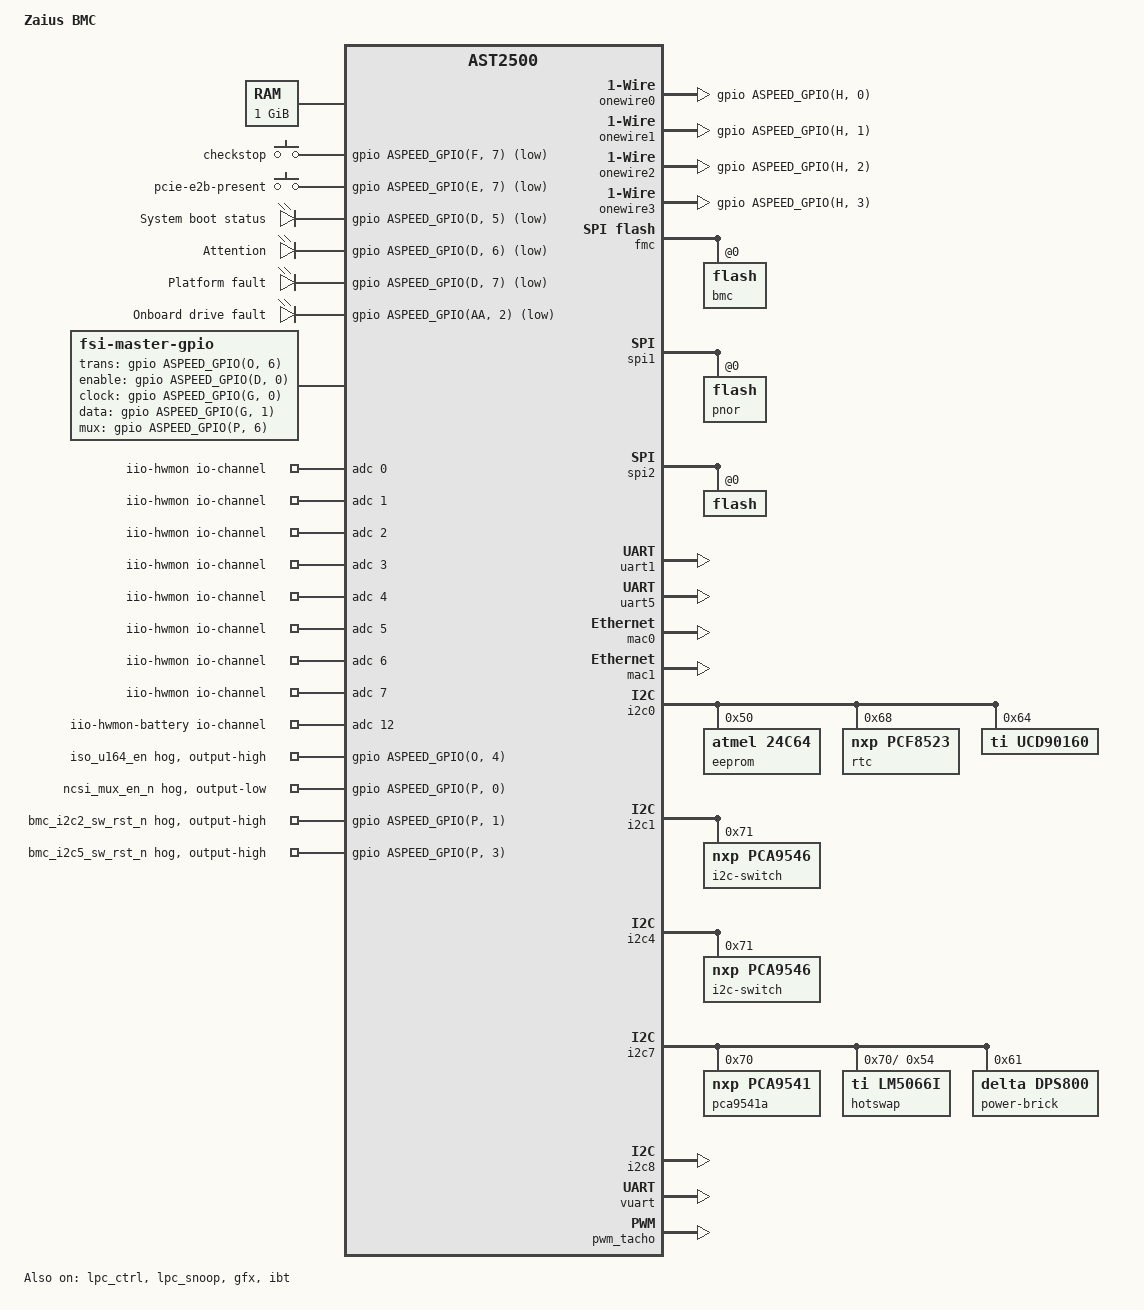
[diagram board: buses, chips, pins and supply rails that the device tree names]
// SPDX-License-Identifier: GPL-2.0
/dts-v1/;
#include "aspeed-g5.dtsi"
#include <dt-bindings/gpio/aspeed-gpio.h>

/ {
	model = "Zaius BMC";
	compatible = "ingrasys,zaius-bmc", "aspeed,ast2500";

	chosen {
		stdout-path = &uart5;
		bootargs = "console=ttyS4,115200 earlyprintk";
	};

	memory@80000000 {
		reg = <0x80000000 0x40000000>;
	};

	reserved-memory {
		#address-cells = <1>;
		#size-cells = <1>;
		ranges;

		flash_memory: region@98000000 {
			no-map;
			reg = <0x98000000 0x04000000>; /* 64M */
		};
	};

	onewire0 {
		compatible = "w1-gpio";
		gpios = <&gpio ASPEED_GPIO(H, 0) GPIO_ACTIVE_HIGH>;
	};

	onewire1 {
		compatible = "w1-gpio";
		gpios = <&gpio ASPEED_GPIO(H, 1) GPIO_ACTIVE_HIGH>;
	};

	onewire2 {
		compatible = "w1-gpio";
		gpios = <&gpio ASPEED_GPIO(H, 2) GPIO_ACTIVE_HIGH>;
	};

	onewire3 {
		compatible = "w1-gpio";
		gpios = <&gpio ASPEED_GPIO(H, 3) GPIO_ACTIVE_HIGH>;
	};

	gpio-keys {
		compatible = "gpio-keys";

		checkstop {
			label = "checkstop";
			gpios = <&gpio ASPEED_GPIO(F, 7) GPIO_ACTIVE_LOW>;
			linux,code = <ASPEED_GPIO(F, 7)>;
		};

		pcie-e2b-present{
			label = "pcie-e2b-present";
			gpios = <&gpio ASPEED_GPIO(E, 7) GPIO_ACTIVE_LOW>;
			linux,code = <ASPEED_GPIO(E, 7)>;
		};
	};

	leds {
		compatible = "gpio-leds";

		sys_boot_status {
			label = "System boot status";
			gpios = <&gpio ASPEED_GPIO(D, 5) GPIO_ACTIVE_LOW>;
		};

		attention {
			label = "Attention";
			gpios = <&gpio ASPEED_GPIO(D, 6) GPIO_ACTIVE_LOW>;
		};

		plt_fault {
			label = "Platform fault";
			gpios = <&gpio ASPEED_GPIO(D, 7) GPIO_ACTIVE_LOW>;
		};

		hdd_fault {
			label = "Onboard drive fault";
			gpios = <&gpio ASPEED_GPIO(AA, 2) GPIO_ACTIVE_LOW>;
		};
	};

	fsi: gpio-fsi {
		compatible = "fsi-master-gpio", "fsi-master";
		#address-cells = <2>;
		#size-cells = <0>;
		no-gpio-delays;

		trans-gpios = <&gpio ASPEED_GPIO(O, 6) GPIO_ACTIVE_HIGH>;
		enable-gpios = <&gpio ASPEED_GPIO(D, 0) GPIO_ACTIVE_HIGH>;
		clock-gpios = <&gpio ASPEED_GPIO(G, 0) GPIO_ACTIVE_HIGH>;
		data-gpios = <&gpio ASPEED_GPIO(G, 1) GPIO_ACTIVE_HIGH>;
		mux-gpios = <&gpio ASPEED_GPIO(P, 6) GPIO_ACTIVE_HIGH>;
	};

	iio-hwmon {
		compatible = "iio-hwmon";
		io-channels = <&adc 0>, <&adc 1>, <&adc 2>, <&adc 3>,
			<&adc 4>, <&adc 5>, <&adc 6>, <&adc 7>,
			<&adc 8>, <&adc 9>, <&adc 10>, <&adc 11>,
			<&adc 13>, <&adc 14>, <&adc 15>;
	};

	iio-hwmon-battery {
		compatible = "iio-hwmon";
		io-channels = <&adc 12>;
	};

};

&fmc {
	status = "okay";

	flash@0 {
		status = "okay";
		label = "bmc";
		m25p,fast-read;
#include "openbmc-flash-layout.dtsi"
	};
};

&spi1 {
	status = "okay";
	pinctrl-names = "default";
	pinctrl-0 = <&pinctrl_spi1_default>;

	flash@0 {
		status = "okay";
		label = "pnor";
		m25p,fast-read;
	};
};

&spi2 {
	status = "okay";
	pinctrl-names = "default";
	pinctrl-0 = <&pinctrl_spi2ck_default
		     &pinctrl_spi2cs0_default
		     &pinctrl_spi2cs1_default
		     &pinctrl_spi2miso_default
		     &pinctrl_spi2mosi_default>;

	flash@0 {
		status = "okay";
	};
};

&uart1 {
	status = "okay";
	pinctrl-names = "default";
	pinctrl-0 = <&pinctrl_txd1_default
		     &pinctrl_rxd1_default>;
};

&lpc_ctrl {
	status = "okay";
	memory-region = <&flash_memory>;
	flash = <&spi1>;
};

&lpc_snoop {
	status = "okay";
	snoop-ports = <0x80>;
};


&uart5 {
	status = "okay";
};

&mac0 {
	status = "okay";
	pinctrl-names = "default";
	pinctrl-0 = <&pinctrl_rmii1_default>;
	use-ncsi;
};

&mac1 {
	status = "okay";

	pinctrl-names = "default";
	pinctrl-0 = <&pinctrl_rgmii2_default &pinctrl_mdio2_default>;
};

&i2c0 {
	status = "okay";

	eeprom@50 {
		compatible = "atmel,24c64";
		reg = <0x50>;
		pagesize = <32>;
	};

	rtc@68 {
		compatible = "nxp,pcf8523";
		reg = <0x68>;
	};

	ucd90160@64 {
		compatible = "ti,ucd90160";
		reg = <0x64>;
	};

	/* Power sequencer UCD90160 PMBUS @64h
	 * FRU AT24C64D @50h
	 * RTC PCF8523 @68h
	 * Clock buffer 9DBL04 @6dh
	 */
};

&i2c1 {
	status = "okay";

	i2c-switch@71 {
		compatible = "nxp,pca9546";
		reg = <0x71>;
		#address-cells = <1>;
		#size-cells = <0>;
	};

	/* MUX1 PCA9546A @71h
	 *   PCIe 0
	 *   PCIe 1
	 *   PCIe 2
	 *   TPM header
	 */
};

&i2c2 {
	status = "disabled";

	/* OCP Mezz Connector A (OOB SMBUS) */
};

&i2c3 {
	status = "disabled";

	/* OCP Mezz Connector A (PCIe slot SMBUS) */
};

&i2c4 {
	status = "okay";

	i2c-switch@71 {
		compatible = "nxp,pca9546";
		reg = <0x71>;
		#address-cells = <1>;
		#size-cells = <0>;
	};

	/* MUX1 PCA9546A @71h
	 *   PCIe 3
	 *   PCIe 4
	 */
};


&i2c5 {
	status = "disabled";

	/* CPU0 PRM 0.7V */
	/* CPU0 PRM 1.2V CH03 */
	/* CPU0 PRM 0.8V */
	/* CPU0 PRM 1.2V CH47 */
};

&i2c6 {
	status = "disabled";

	/* CPU1 PRM 0.7V */
	/* CPU1 PRM 1.2V CH03 */
	/* CPU1 PRM 0.8V */
	/* CPU1 PRM 1.2V CH47 */
};

&i2c7 {
	status = "okay";

	pca9541a@70 {
		compatible = "nxp,pca9541";
		reg = <0x70>;

		i2c-arb {
			#address-cells = <1>;
			#size-cells = <0>;

			hotswap@54 {
				compatible = "ti,lm5066i";
				reg = <0x54>;
			};
		};
	};

	/* Master selector PCA9541A @70h (other master: CPU0)
	 *   LM5066I PMBUS @10h
	 */

	/* 12V Quarter Brick DC/DC Converter Q54SJ12050 @61h */
	power-brick@61 {
		compatible = "delta,dps800";
		reg = <0x61>;
	};

	/* CPU0 VR ISL68137 0.7V, 0.96V PMBUS @64h */
	/* CPU0 VR ISL68137 1.2V CH03 PMBUS @40h */
	/* CPU0 VR ISL68137 0.8V PMBUS @60h */
	/* CPU0 VR 1.0V IR38064 I2C @11h, PMBUS @41h */
	/* CPU0 VR ISL68137 1.2V CH47 PMBUS @41h */
};

&i2c8 {
	status = "okay";

	/* CPU1 VR ISL68137 0.7V, 0.96V PMBUS @65h */
	/* CPU1 VR ISL68137 1.2V CH03 PMBUS @44h */
	/* CPU1 VR ISL68137 0.8V PMBUS @61h */
	/* CPU1 VR 1.0V IR38064 I2C @12h, PMBUS @42h */
	/* CPU0 VR ISL68137 1.2V CH47 PMBUS @45h */
};


&i2c9 {
	status = "disabled";

	/* Fan board */
};

&i2c10 {
	status = "disabled";
};

&i2c11 {
	status = "disabled";

	/* GPU sideband */
};

&i2c12 {
	status = "disabled";
};

&i2c13 {
	status = "disabled";

	/* MUX PI3USB102
	 *   CPU0 debug
	 *   CPU1 debug
	 */
};

&pinctrl {
	aspeed,external-nodes = <&gfx &lhc>;

	pinctrl_gpioh_unbiased: gpioi_unbiased {
		pins = "A8", "C7", "B7", "A7", "D7", "B6", "A6", "E7";
		bias-disable;
	};
};

&gpio {
	pinctrl-names = "default";
	pinctrl-0 = <&pinctrl_gpioh_unbiased>;

	line_iso_u146_en {
		gpio-hog;
		gpios = <ASPEED_GPIO(O, 4) GPIO_ACTIVE_HIGH>;
		output-high;
		line-name = "iso_u164_en";
	};

	ncsi_mux_en_n {
		gpio-hog;
		gpios = <ASPEED_GPIO(P, 0) GPIO_ACTIVE_HIGH>;
		output-low;
		line-name = "ncsi_mux_en_n";
	};

	line_bmc_i2c2_sw_rst_n {
		gpio-hog;
		gpios = <ASPEED_GPIO(P, 1) GPIO_ACTIVE_HIGH>;
		output-high;
		line-name = "bmc_i2c2_sw_rst_n";
	};

	line_bmc_i2c5_sw_rst_n {
		gpio-hog;
		gpios = <ASPEED_GPIO(P, 3) GPIO_ACTIVE_HIGH>;
		output-high;
		line-name = "bmc_i2c5_sw_rst_n";
	};
};

&vuart {
	status = "okay";
};

&gfx {
	status = "okay";
};

&pwm_tacho {
	status = "okay";
	pinctrl-names = "default";
	pinctrl-0 = <&pinctrl_pwm0_default &pinctrl_pwm1_default
		&pinctrl_pwm2_default &pinctrl_pwm3_default>;

	fan@0 {
		reg = <0x00>;
		aspeed,fan-tach-ch = /bits/ 8 <0x00>;
	};

	fan@1 {
		reg = <0x01>;
		aspeed,fan-tach-ch = /bits/ 8 <0x01>;
	};

	fan@2 {
		reg = <0x02>;
		aspeed,fan-tach-ch = /bits/ 8 <0x02>;
	};

	fan@3 {
		reg = <0x03>;
		aspeed,fan-tach-ch = /bits/ 8 <0x03>;
	};
};

&ibt {
	status = "okay";
};
